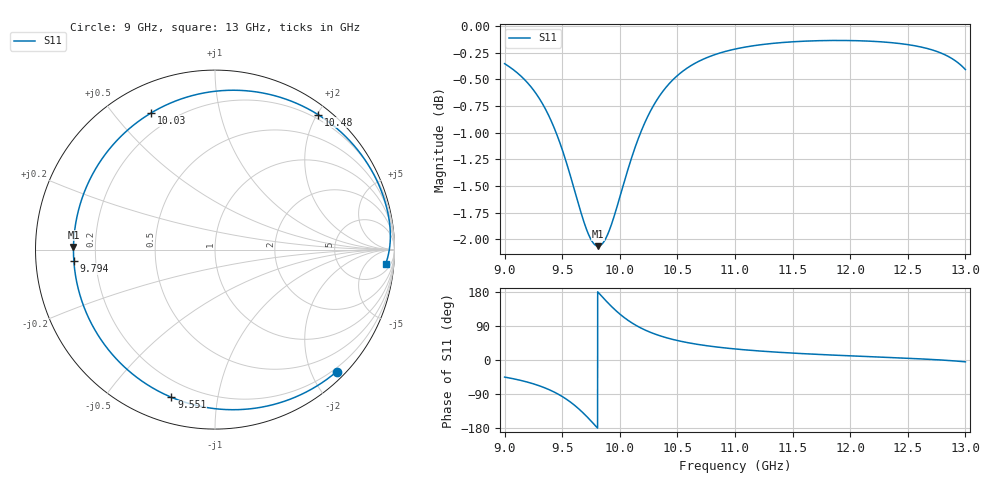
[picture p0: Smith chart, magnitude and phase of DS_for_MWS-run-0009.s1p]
! TOUCHSTONE file generated by CST DESIGN STUDIO
! Date and time: Tue Feb  4 16:08:47 2025
! Project name: C:\Work\MatlabApps\UnitCellOptimizationMatlab\CST\unitcell.cst
! Tree item: Tasks\Sweep1\SPara1\S-Parameters
! Header version: 2024
! Port assignment regex: !\s*Touchstone port\s*([0-9]+)\s*=\s*(CST MWS port|CST DES external port|CST DES block port)\s*(.+)\s* \(\"(.*)\"\)(\s*mode\s*([0-9]+))?.*
! Touchstone port assignment:
! Touchstone port 1 = CST DES external port 1 ("")
# GHz S MA R 50
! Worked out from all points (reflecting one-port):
!   4001 points, 9 GHz to 13 GHz, reference 50 ohm
!   lowest |S11| = -2.1 dB at 9.811 GHz (marker M1), VSWR 8.46, Z = 5.91 + j0.474 ohm
!   phase of S11 starts at -45 deg and turns -320 deg over the sweep
!   S11 on the Smith chart (normalised r, x): 9 GHz: 0.14, -2.40; 9.551 GHz: 0.12, -0.74; 9.794 GHz: 0.12, -0.04; 10.03 GHz: 0.12, +0.63; 10.48 GHz: 0.14, +2.01; 13 GHz: 10, -18
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9  0.9603 -45.1
9.143  0.9473 -54.0
9.274  0.9296 -65.2
9.389  0.9065 -78.6
9.5  0.8753 -96.3
9.551  0.858 -106.5
9.61  0.8365 -120.2
9.667  0.8164 -135.4
9.735  0.7972 -156.0
9.794  0.789 -175.4
9.811  0.7886 178.9
9.851  0.7909 165.6
9.894  0.7985 151.7
9.948  0.8136 135.4
10  0.8314 121.3
10.025  0.8404 115.1
10.073  0.8575 104.3
10.124  0.8745 94.3
10.247  0.9081 75.4
10.358  0.9295 63.0
10.482  0.9461 52.7
10.5  0.948 51.4
10.717  0.9645 39.3
11  0.9755 29.2
11.5  0.9832 18.2
12  0.9845 11.0
12.5  0.9802 4.5
13  0.9542 -4.9
